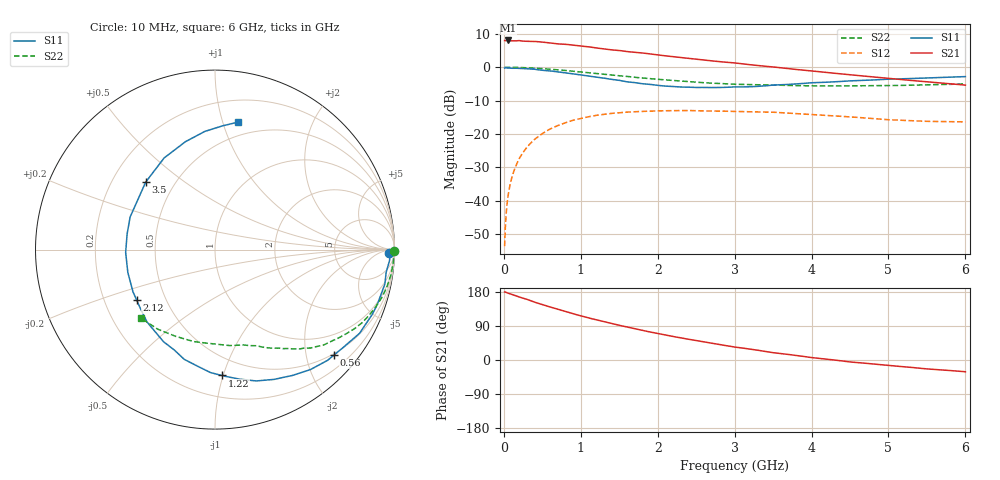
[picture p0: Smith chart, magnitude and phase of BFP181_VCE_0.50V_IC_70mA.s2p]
! Infineon Technologies  Discrete & RF Semiconductors
! BFP181
! VCE = 0.50V,  IC =  70 mA
! Common Emitter S-Parameters:  Jan 2016
# GHz  S  MA  R  50
!  f  S11  S21  S12  S22
! GHz  MAG  ANG  MAG  ANG  MAG  ANG  MAG  ANG
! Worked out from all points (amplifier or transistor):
!   210 points, 10 MHz to 6 GHz, reference 50 ohm
!   highest |S21| = 8.0 dB at 50 MHz (marker M1)
!   |S21| within 3 dB of that: start of sweep to 1.506 GHz
!   unconditionally stable (mu >= 1): 2.955 GHz to end of sweep
!   at 185 MHz: K = 0.07, MSG = 18.0 dB, |S12| = -28.0 dB
!   at 1.52 GHz: K = 0.56, MSG = 9.3 dB, |S12| = -13.6 dB
!   at 6 GHz: K = 1.64, MAG = 0.8 dB, |S12| = -16.4 dB
!   S11 on the Smith chart (normalised r, x): 10 MHz: 49, -27; 560 MHz: 0.47, -2.56; 1.22 GHz: 0.36, -0.99; 2.12 GHz: 0.34, -0.26; 3.5 GHz: 0.34, +0.37; 6 GHz: 0.38, +1.12
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0.01  0.969 -1.0  2.497 179.6  0.0021 89.1  0.9986 -0.3
0.015  0.9727 -1.3  2.493 179.5  0.0031 88.4  0.9959 -0.5
0.025  0.976 -1.8  2.493 178.9  0.0052 88.2  0.9937 -0.9
0.05  0.9744 -3.6  2.508 176.7  0.0108 88.4  0.9967 -2.0
0.11  0.9623 -8.4  2.477 172.6  0.0236 83.1  0.9953 -4.4
0.2  0.9581 -15.2  2.496 166.2  0.0429 79.7  0.9908 -8.0
0.4  0.9306 -30.1  2.43 152.6  0.0831 69.0  0.9684 -15.8
0.56  0.8857 -41.6  2.331 142.4  0.1116 60.7  0.9401 -21.7
0.8  0.8228 -58.5  2.199 127.9  0.1476 50.0  0.8931 -29.6
1.02  0.7602 -73.8  2.057 115.4  0.1729 40.6  0.8417 -36.1
1.22  0.7024 -86.9  1.925 105.3  0.1916 32.7  0.8011 -41.7
1.6  0.6038 -112.0  1.711 87.0  0.2128 21.4  0.7279 -49.5
1.8  0.5651 -126.5  1.63 78.0  0.2178 16.2  0.6885 -53.2
2.02  0.5316 -140.8  1.514 69.1  0.2224 10.9  0.6553 -57.0
2.12  0.5189 -147.4  1.468 65.2  0.2231 8.5  0.642 -58.8
2.6  0.498 -178.2  1.281 47.9  0.2215 -1.2  0.584 -66.5
3.1  0.5061 154.2  1.121 31.6  0.2162 -9.7  0.5515 -74.7
3.5  0.5392 135.7  1.007 19.3  0.2119 -14.5  0.5409 -81.3
4.1  0.5892 116.1  0.855 4.3  0.1927 -20.8  0.5236 -93.9
4.5  0.6234 105.3  0.77 -5.1  0.1804 -24.3  0.5259 -102.9
5.1  0.6652 93.3  0.664 -16.1  0.1617 -25.2  0.532 -116.6
6  0.7223 79.7  0.539 -31.0  0.1518 -21.3  0.5623 -137.3
